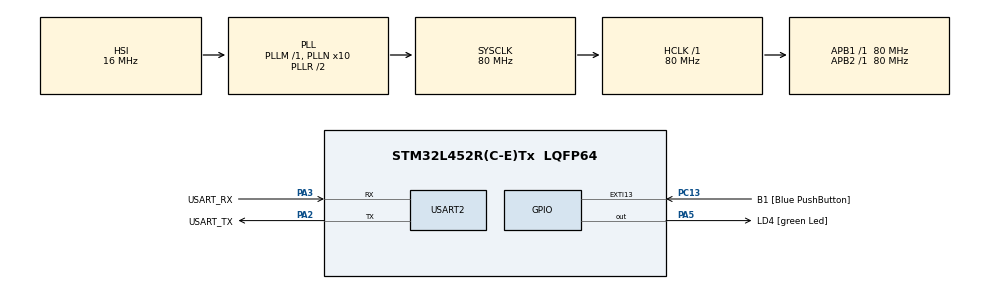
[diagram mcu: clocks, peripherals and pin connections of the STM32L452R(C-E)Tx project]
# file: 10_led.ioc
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Mcu.Family=STM32L4
Mcu.Name=STM32L452R(C-E)Tx
Mcu.Package=LQFP64
NVIC.EXTI15_10_IRQn=true\:0\:0\:false\:false\:true\:true\:true\:true
NVIC.PriorityGroup=NVIC_PRIORITYGROUP_4
PA13\ (JTMS/SWDIO).GPIO_Label=TMS
PA13\ (JTMS/SWDIO).Mode=Serial_Wire
PA13\ (JTMS/SWDIO).Signal=SYS_JTMS-SWDIO
PA14\ (JTCK/SWCLK).GPIO_Label=TCK
PA14\ (JTCK/SWCLK).Mode=Serial_Wire
PA14\ (JTCK/SWCLK).Signal=SYS_JTCK-SWCLK
PA2.GPIO_Label=USART_TX
PA2.GPIO_Mode=GPIO_MODE_AF_PP
PA2.GPIO_PuPd=GPIO_NOPULL
PA2.GPIO_Speed=GPIO_SPEED_FREQ_VERY_HIGH
PA2.Mode=Asynchronous
PA2.Signal=USART2_TX
PA3.GPIO_Label=USART_RX
PA3.GPIO_Mode=GPIO_MODE_AF_PP
PA3.GPIO_PuPd=GPIO_NOPULL
PA3.GPIO_Speed=GPIO_SPEED_FREQ_VERY_HIGH
PA3.Mode=Asynchronous
PA3.Signal=USART2_RX
PA5.GPIO_Label=LD4 [green Led]
PA5.GPIO_ModeDefaultOutputPP=GPIO_MODE_OUTPUT_PP
PA5.GPIO_PuPd=GPIO_NOPULL
PA5.GPIO_Speed=GPIO_SPEED_FREQ_LOW
PA5.Signal=GPIO_Output
PB3\ (JTDO/TRACESWO).GPIO_Label=SWO
PB3\ (JTDO/TRACESWO).Signal=SYS_JTDO-SWO
PC13.GPIO_Label=B1 [Blue PushButton]
PC13.GPIO_ModeDefaultEXTI=GPIO_MODE_IT_FALLING
PC13.GPIO_PuPd=GPIO_NOPULL
PC13.Signal=GPXTI13
PC14-OSC32_IN\ (PC14).Mode=LSE-External-Oscillator
PC14-OSC32_IN\ (PC14).Signal=RCC_OSC32_IN
PC15-OSC32_OUT\ (PC15).Mode=LSE-External-Oscillator
PC15-OSC32_OUT\ (PC15).Signal=RCC_OSC32_OUT
PH0-OSC_IN\ (PH0).Signal=RCC_OSC_IN
PH1-OSC_OUT\ (PH1).Signal=RCC_OSC_OUT
ProjectManager.HeapSize=0x200
ProjectManager.StackSize=0x400
ProjectManager.TargetToolchain=STM32CubeIDE
RCC.ADCFreq_Value=64000000
RCC.AHBFreq_Value=80000000
RCC.APB1Freq_Value=80000000
RCC.APB1TimFreq_Value=80000000
RCC.APB2Freq_Value=80000000
RCC.APB2TimFreq_Value=80000000
RCC.CortexFreq_Value=80000000
RCC.HCLKFreq_Value=80000000
RCC.HSE_VALUE=8000000
RCC.HSI48_VALUE=48000000
RCC.HSI_VALUE=16000000
RCC.MSI_VALUE=4000000
RCC.PLLN=10
RCC.PLLSourceVirtual=RCC_PLLSOURCE_HSI
RCC.PREFETCH_ENABLE=1
RCC.SYSCLKFreq_VALUE=80000000
RCC.SYSCLKSource=RCC_SYSCLKSOURCE_PLLCLK
RCC.USBFreq_Value=64000000
RCC.VCOOutputFreq_Value=160000000
USART2.VirtualMode-Asynchronous=VM_ASYNC
board=NUCLEO-L452RE

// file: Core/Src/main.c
/* USER CODE BEGIN Header */
/**
 ******************************************************************************
 * @file           : main.c
 * @brief          : Main program body
 ******************************************************************************
 * @attention
 *
 * Copyright (c) 2022 STMicroelectronics.
 * All rights reserved.
 *
 * This software is licensed under terms that can be found in the LICENSE file
 * in the root directory of this software component.
 * If no LICENSE file comes with this software, it is provided AS-IS.
 *
 ******************************************************************************
 */
/* USER CODE END Header */
#include "main.h"

/* USER CODE BEGIN PM */
uint32_t led_change_flag = 1;
void HAL_GPIO_EXTI_Callback(uint16_t GPIO_Pin)
{
	if (GPIO_Pin == GPIO_PIN_13)
	{
		led_change_flag = 1;
	}
	else
	{
		__NOP();
	}
}

/* USER CODE END PM */

UART_HandleTypeDef huart2;

void SystemClock_Config(void);
static void MX_GPIO_Init(void);
static void MX_USART2_UART_Init(void);

int main(void)
{
  /* USER CODE BEGIN 1 */
	uint8_t led_user_delay_sel = 1;
	uint32_t led_user_delay = 500;

  /* USER CODE END 1 */

  /* MCU Configuration--------------------------------------------------------*/

  /* Reset of all peripherals, Initializes the Flash interface and the Systick. */
  HAL_Init();

  /* Configure the system clock */
  SystemClock_Config();

  /* Initialize all configured peripherals */
  MX_GPIO_Init();
  MX_USART2_UART_Init();

  /* Infinite loop */
  /* USER CODE BEGIN WHILE */
  uint32_t ticks_delay = HAL_GetTick();
	while (1)
	{
		if (led_change_flag == 1)
		{
			led_change_flag = 0;
			switch (led_user_delay_sel)
			{
			case 1:
				led_user_delay = 1550;
				led_user_delay_sel = 2;
				break;
			case 2:
				led_user_delay = 1000;
				led_user_delay_sel = 3;
				break;
			case 3:
				led_user_delay = 500;
				led_user_delay_sel = 4;
				break;
			case 4:
				led_user_delay = 100;
				led_user_delay_sel = 1;
				break;
			}
		}
		if(HAL_GetTick() - ticks_delay > led_user_delay)
		{
		  HAL_GPIO_TogglePin(GPIOA, GPIO_PIN_5);
		  ticks_delay = HAL_GetTick();
		}

    /* USER CODE END WHILE */

	}
}

void SystemClock_Config(void)
{
  RCC_OscInitTypeDef RCC_OscInitStruct = {0};
  RCC_ClkInitTypeDef RCC_ClkInitStruct = {0};

  /** Configure the main internal regulator output voltage
  */
  if (HAL_PWREx_ControlVoltageScaling(PWR_REGULATOR_VOLTAGE_SCALE1) != HAL_OK)
  {
    Error_Handler();
  }

  /** Initializes the RCC Oscillators according to the specified parameters
  * in the RCC_OscInitTypeDef structure.
  */
  RCC_OscInitStruct.OscillatorType = RCC_OSCILLATORTYPE_HSI;
  RCC_OscInitStruct.HSIState = RCC_HSI_ON;
  RCC_OscInitStruct.HSICalibrationValue = RCC_HSICALIBRATION_DEFAULT;
  RCC_OscInitStruct.PLL.PLLState = RCC_PLL_ON;
  RCC_OscInitStruct.PLL.PLLSource = RCC_PLLSOURCE_HSI;
  RCC_OscInitStruct.PLL.PLLM = 1;
  RCC_OscInitStruct.PLL.PLLN = 10;
  RCC_OscInitStruct.PLL.PLLP = RCC_PLLP_DIV7;
  RCC_OscInitStruct.PLL.PLLQ = RCC_PLLQ_DIV2;
  RCC_OscInitStruct.PLL.PLLR = RCC_PLLR_DIV2;
  if (HAL_RCC_OscConfig(&RCC_OscInitStruct) != HAL_OK)
  {
    Error_Handler();
  }

  /** Initializes the CPU, AHB and APB buses clocks
  */
  RCC_ClkInitStruct.ClockType = RCC_CLOCKTYPE_HCLK|RCC_CLOCKTYPE_SYSCLK
                              |RCC_CLOCKTYPE_PCLK1|RCC_CLOCKTYPE_PCLK2;
  RCC_ClkInitStruct.SYSCLKSource = RCC_SYSCLKSOURCE_PLLCLK;
  RCC_ClkInitStruct.AHBCLKDivider = RCC_SYSCLK_DIV1;
  RCC_ClkInitStruct.APB1CLKDivider = RCC_HCLK_DIV1;
  RCC_ClkInitStruct.APB2CLKDivider = RCC_HCLK_DIV1;

  if (HAL_RCC_ClockConfig(&RCC_ClkInitStruct, FLASH_LATENCY_4) != HAL_OK)
  {
    Error_Handler();
  }
}

static void MX_USART2_UART_Init(void)
{

  huart2.Instance = USART2;
  huart2.Init.BaudRate = 115200;
  huart2.Init.WordLength = UART_WORDLENGTH_8B;
  huart2.Init.StopBits = UART_STOPBITS_1;
  huart2.Init.Parity = UART_PARITY_NONE;
  huart2.Init.Mode = UART_MODE_TX_RX;
  huart2.Init.HwFlowCtl = UART_HWCONTROL_NONE;
  huart2.Init.OverSampling = UART_OVERSAMPLING_16;
  huart2.Init.OneBitSampling = UART_ONE_BIT_SAMPLE_DISABLE;
  huart2.AdvancedInit.AdvFeatureInit = UART_ADVFEATURE_NO_INIT;
  if (HAL_UART_Init(&huart2) != HAL_OK)
  {
    Error_Handler();
  }

}

static void MX_GPIO_Init(void)
{
  GPIO_InitTypeDef GPIO_InitStruct = {0};

  /* GPIO Ports Clock Enable */
  __HAL_RCC_GPIOC_CLK_ENABLE();
  __HAL_RCC_GPIOH_CLK_ENABLE();
  __HAL_RCC_GPIOA_CLK_ENABLE();
  __HAL_RCC_GPIOB_CLK_ENABLE();

  /*Configure GPIO pin Output Level */
  HAL_GPIO_WritePin(LD4_GPIO_Port, LD4_Pin, GPIO_PIN_RESET);

  /*Configure GPIO pin : B1_Pin */
  GPIO_InitStruct.Pin = B1_Pin;
  GPIO_InitStruct.Mode = GPIO_MODE_IT_FALLING;
  GPIO_InitStruct.Pull = GPIO_NOPULL;
  HAL_GPIO_Init(B1_GPIO_Port, &GPIO_InitStruct);

  /*Configure GPIO pin : LD4_Pin */
  GPIO_InitStruct.Pin = LD4_Pin;
  GPIO_InitStruct.Mode = GPIO_MODE_OUTPUT_PP;
  GPIO_InitStruct.Pull = GPIO_NOPULL;
  GPIO_InitStruct.Speed = GPIO_SPEED_FREQ_LOW;
  HAL_GPIO_Init(LD4_GPIO_Port, &GPIO_InitStruct);

  /* EXTI interrupt init*/
  HAL_NVIC_SetPriority(EXTI15_10_IRQn, 0, 0);
  HAL_NVIC_EnableIRQ(EXTI15_10_IRQn);

}

void Error_Handler(void)
{
	__disable_irq();
	while (1)
	{
	}
}
